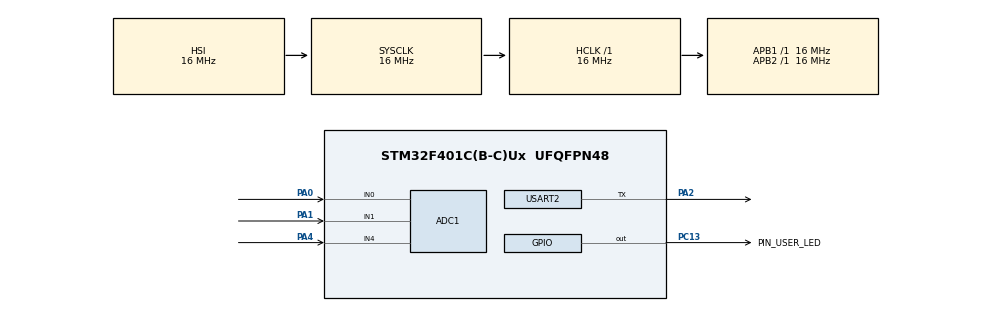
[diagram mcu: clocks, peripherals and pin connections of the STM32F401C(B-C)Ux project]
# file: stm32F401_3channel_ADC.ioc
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ADC1.Channel-0\#ChannelRegularConversion=ADC_CHANNEL_0
ADC1.Channel-1\#ChannelRegularConversion=ADC_CHANNEL_0
ADC1.Channel-2\#ChannelRegularConversion=ADC_CHANNEL_0
ADC1.Channel-3\#ChannelRegularConversion=ADC_CHANNEL_0
ADC1.Channel-4\#ChannelRegularConversion=ADC_CHANNEL_0
ADC1.ClockPrescaler=ADC_CLOCK_SYNC_PCLK_DIV4
ADC1.ContinuousConvMode=ENABLE
ADC1.NbrOfConversion=5
ADC1.NbrOfConversionFlag=1
ADC1.Rank-0\#ChannelRegularConversion=1
ADC1.Rank-1\#ChannelRegularConversion=2
ADC1.Rank-2\#ChannelRegularConversion=3
ADC1.Rank-3\#ChannelRegularConversion=4
ADC1.Rank-4\#ChannelRegularConversion=5
ADC1.SamplingTime-0\#ChannelRegularConversion=ADC_SAMPLETIME_15CYCLES
ADC1.SamplingTime-1\#ChannelRegularConversion=ADC_SAMPLETIME_15CYCLES
ADC1.SamplingTime-2\#ChannelRegularConversion=ADC_SAMPLETIME_15CYCLES
ADC1.SamplingTime-3\#ChannelRegularConversion=ADC_SAMPLETIME_3CYCLES
ADC1.SamplingTime-4\#ChannelRegularConversion=ADC_SAMPLETIME_3CYCLES
ADC1.master=1
Mcu.Family=STM32F4
Mcu.Name=STM32F401C(B-C)Ux
Mcu.Package=UFQFPN48
NVIC.PriorityGroup=NVIC_PRIORITYGROUP_4
PA0-WKUP.Signal=ADCx_IN0
PA1.Signal=ADCx_IN1
PA13.Mode=Serial_Wire
PA13.Signal=SYS_JTMS-SWDIO
PA14.Mode=Serial_Wire
PA14.Signal=SYS_JTCK-SWCLK
PA2.Mode=Half_duplex(single_wire_mode)
PA2.Signal=USART2_TX
PA4.Signal=ADCx_IN4
PC13-ANTI_TAMP.GPIO_Label=PIN_USER_LED
PC13-ANTI_TAMP.Signal=GPIO_Output
ProjectManager.HeapSize=0x200
ProjectManager.StackSize=0x400
ProjectManager.TargetToolchain=STM32CubeIDE
RCC.AHBFreq_Value=16000000
RCC.APB1Freq_Value=16000000
RCC.APB2Freq_Value=16000000
RCC.CortexFreq_Value=16000000
RCC.HSE_VALUE=25000000
RCC.HSI_VALUE=16000000
RCC.LSE_VALUE=32768
RCC.SYSCLKFreq_VALUE=16000000
RCC.VCOOutputFreq_Value=192000000
SH.ADCx_IN0.0=ADC1_IN0,IN0
SH.ADCx_IN1.0=ADC1_IN1,IN1
SH.ADCx_IN4.0=ADC1_IN4,IN4
USART2.Mode=MODE_TX
USART2.Parity=PARITY_EVEN
USART2.VirtualMode=VM_ASYNC
board=custom

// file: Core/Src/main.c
/* USER CODE BEGIN Header */

// Print:
// open COM port in putty or stm32ide ( Open Control )
// 115200, data bit 7 , stop bit 1, parity Even, Flow Control None.

// ADC connection
// only PA0, PA1, PA4 is defined as adc input channel.
// PA0 to GND (expect adc read 0),
// PA1 to mid point of 10K and 10K from 3.3V and GND( so expect 2048 (half of 4096) adc val for 1.65V)
// PA4 to 3.3V(4096).
/**
 ******************************************************************************
 * @file           : main.c
 * @brief          : Main program body
 ******************************************************************************
 * @attention
 *
 * Copyright (c) 2022 STMicroelectronics.
 * All rights reserved.
 *
 * This software is licensed under terms that can be found in the LICENSE file
 * in the root directory of this software component.
 * If no LICENSE file comes with this software, it is provided AS-IS.
 *
 ******************************************************************************
 */
/* USER CODE END Header */
#include "main.h"

ADC_HandleTypeDef hadc1;

UART_HandleTypeDef huart2;

void SystemClock_Config(void);
static void MX_GPIO_Init(void);
static void MX_ADC1_Init(void);
static void MX_USART2_UART_Init(void);

/* USER CODE BEGIN 0 */

// only PA0, PA1, PA4 is defined as adc input channel.
// connect PA0 to GND, PA1 to mid point of 10K and 10K from 3.3V and GND, PA4 to 3.3V.
void select_ADC_Channel(uint32_t channel) {
	ADC_ChannelConfTypeDef sConfig = { 0 };
	/** Configure for the selected ADC regular channel its corresponding rank in the sequencer and its sample time.
	 */

	switch (channel) {
	case 0:
		channel = ADC_CHANNEL_0;
		break;
	case 1:
		channel = ADC_CHANNEL_1;
		break;
	case 2:
		channel = ADC_CHANNEL_4;
		break;
	default:
		return;
	}

	sConfig.Channel = channel;
	sConfig.Rank = 1;
	sConfig.SamplingTime = ADC_SAMPLETIME_84CYCLES;
	if (HAL_ADC_ConfigChannel(&hadc1, &sConfig) != HAL_OK) {
		Error_Handler();
	}

}

uint16_t read_adc(uint32_t channel)
{

	select_ADC_Channel(channel);
	HAL_ADC_Start(&hadc1);
	HAL_ADC_PollForConversion(&hadc1, HAL_MAX_DELAY);
	uint16_t read_adc = HAL_ADC_GetValue(&hadc1);
	HAL_ADC_Stop(&hadc1);
	return read_adc;

}

/* Private function prototypes -----------------------------------------------*/
#ifdef __GNUC__
/* With GCC, small printf (option LD Linker->Libraries->Small printf
 set to 'Yes') calls __io_putchar() */
#define PUTCHAR_PROTOTYPE int __io_putchar(int ch)
#else
#define PUTCHAR_PROTOTYPE int fputc(int ch, FILE *f)
#endif /* __GNUC__ */

//must have this to print in uart com port
PUTCHAR_PROTOTYPE {
	// Place your implementation of fputc here
	// e.g. write a character to the EVAL_COM1 and Loop until the end of transmission
	HAL_UART_Transmit(&huart2, (uint8_t*) &ch, 1, 0xFFFF);

	return ch;
}

/* USER CODE END 0 */

int main(void)
{
  /* USER CODE BEGIN 1 */

	uint16_t *flashSizeF401Addr = (uint16_t*) 0x1FFF7A22;
	uint16_t flashSize = *flashSizeF401Addr;

  /* USER CODE END 1 */

  /* MCU Configuration--------------------------------------------------------*/

  /* Reset of all peripherals, Initializes the Flash interface and the Systick. */
  HAL_Init();

  /* Configure the system clock */
  SystemClock_Config();

  /* Initialize all configured peripherals */
  MX_GPIO_Init();
  MX_ADC1_Init();
  MX_USART2_UART_Init();

  /* Infinite loop */
  /* USER CODE BEGIN WHILE */
	int channel = 0;
	int MAX_CHANNEL = 3;

	while (1) {

		channel = channel % MAX_CHANNEL;

		HAL_GPIO_WritePin(GPIOC, PIN_USER_LED_Pin, GPIO_PIN_RESET);

		uint16_t adc_val = read_adc(channel);
		printf("adc PA %i  read  %hu\r\n", channel, adc_val);

		printf("Hello World from Stm32CubeIDE!\r\n");
		printf("Device Id not sure how to get,  flash size is %uKB\r\n",
				flashSize);

		// can also use USB as virtual com port to print: CDC_Transmit_FS((uint8_t *) "Hello World CDC !\n", 13); //We add this line for serial comm
		HAL_Delay(500);
		HAL_GPIO_WritePin(GPIOC, PIN_USER_LED_Pin, GPIO_PIN_SET);
		channel++;
		HAL_Delay(500);

    /* USER CODE END WHILE */

	}
}

void SystemClock_Config(void)
{
  RCC_OscInitTypeDef RCC_OscInitStruct = {0};
  RCC_ClkInitTypeDef RCC_ClkInitStruct = {0};

  /** Configure the main internal regulator output voltage
  */
  __HAL_RCC_PWR_CLK_ENABLE();
  __HAL_PWR_VOLTAGESCALING_CONFIG(PWR_REGULATOR_VOLTAGE_SCALE2);

  /** Initializes the RCC Oscillators according to the specified parameters
  * in the RCC_OscInitTypeDef structure.
  */
  RCC_OscInitStruct.OscillatorType = RCC_OSCILLATORTYPE_HSI;
  RCC_OscInitStruct.HSIState = RCC_HSI_ON;
  RCC_OscInitStruct.HSICalibrationValue = RCC_HSICALIBRATION_DEFAULT;
  RCC_OscInitStruct.PLL.PLLState = RCC_PLL_NONE;
  if (HAL_RCC_OscConfig(&RCC_OscInitStruct) != HAL_OK)
  {
    Error_Handler();
  }

  /** Initializes the CPU, AHB and APB buses clocks
  */
  RCC_ClkInitStruct.ClockType = RCC_CLOCKTYPE_HCLK|RCC_CLOCKTYPE_SYSCLK
                              |RCC_CLOCKTYPE_PCLK1|RCC_CLOCKTYPE_PCLK2;
  RCC_ClkInitStruct.SYSCLKSource = RCC_SYSCLKSOURCE_HSI;
  RCC_ClkInitStruct.AHBCLKDivider = RCC_SYSCLK_DIV1;
  RCC_ClkInitStruct.APB1CLKDivider = RCC_HCLK_DIV1;
  RCC_ClkInitStruct.APB2CLKDivider = RCC_HCLK_DIV1;

  if (HAL_RCC_ClockConfig(&RCC_ClkInitStruct, FLASH_LATENCY_0) != HAL_OK)
  {
    Error_Handler();
  }
}

static void MX_ADC1_Init(void)
{

  ADC_ChannelConfTypeDef sConfig = {0};

  /** Configure the global features of the ADC (Clock, Resolution, Data Alignment and number of conversion)
  */
  hadc1.Instance = ADC1;
  hadc1.Init.ClockPrescaler = ADC_CLOCK_SYNC_PCLK_DIV4;
  hadc1.Init.Resolution = ADC_RESOLUTION_12B;
  hadc1.Init.ScanConvMode = ENABLE;
  hadc1.Init.ContinuousConvMode = ENABLE;
  hadc1.Init.DiscontinuousConvMode = DISABLE;
  hadc1.Init.ExternalTrigConvEdge = ADC_EXTERNALTRIGCONVEDGE_NONE;
  hadc1.Init.ExternalTrigConv = ADC_SOFTWARE_START;
  hadc1.Init.DataAlign = ADC_DATAALIGN_RIGHT;
  hadc1.Init.NbrOfConversion = 5;
  hadc1.Init.DMAContinuousRequests = DISABLE;
  hadc1.Init.EOCSelection = ADC_EOC_SINGLE_CONV;
  if (HAL_ADC_Init(&hadc1) != HAL_OK)
  {
    Error_Handler();
  }

  /** Configure for the selected ADC regular channel its corresponding rank in the sequencer and its sample time.
  */
  sConfig.Channel = ADC_CHANNEL_0;
  sConfig.Rank = 1;
  sConfig.SamplingTime = ADC_SAMPLETIME_15CYCLES;
  if (HAL_ADC_ConfigChannel(&hadc1, &sConfig) != HAL_OK)
  {
    Error_Handler();
  }

  /** Configure for the selected ADC regular channel its corresponding rank in the sequencer and its sample time.
  */
  sConfig.Rank = 2;
  if (HAL_ADC_ConfigChannel(&hadc1, &sConfig) != HAL_OK)
  {
    Error_Handler();
  }

  /** Configure for the selected ADC regular channel its corresponding rank in the sequencer and its sample time.
  */
  sConfig.Rank = 3;
  if (HAL_ADC_ConfigChannel(&hadc1, &sConfig) != HAL_OK)
  {
    Error_Handler();
  }

  /** Configure for the selected ADC regular channel its corresponding rank in the sequencer and its sample time.
  */
  sConfig.Rank = 4;
  sConfig.SamplingTime = ADC_SAMPLETIME_3CYCLES;
  if (HAL_ADC_ConfigChannel(&hadc1, &sConfig) != HAL_OK)
  {
    Error_Handler();
  }

  /** Configure for the selected ADC regular channel its corresponding rank in the sequencer and its sample time.
  */
  sConfig.Rank = 5;
  if (HAL_ADC_ConfigChannel(&hadc1, &sConfig) != HAL_OK)
  {
    Error_Handler();
  }

}

static void MX_USART2_UART_Init(void)
{

  huart2.Instance = USART2;
  huart2.Init.BaudRate = 115200;
  huart2.Init.WordLength = UART_WORDLENGTH_8B;
  huart2.Init.StopBits = UART_STOPBITS_1;
  huart2.Init.Parity = UART_PARITY_EVEN;
  huart2.Init.Mode = UART_MODE_TX;
  huart2.Init.HwFlowCtl = UART_HWCONTROL_NONE;
  huart2.Init.OverSampling = UART_OVERSAMPLING_16;
  if (HAL_HalfDuplex_Init(&huart2) != HAL_OK)
  {
    Error_Handler();
  }

}

static void MX_GPIO_Init(void)
{
  GPIO_InitTypeDef GPIO_InitStruct = {0};

  /* GPIO Ports Clock Enable */
  __HAL_RCC_GPIOC_CLK_ENABLE();
  __HAL_RCC_GPIOA_CLK_ENABLE();

  /*Configure GPIO pin Output Level */
  HAL_GPIO_WritePin(PIN_USER_LED_GPIO_Port, PIN_USER_LED_Pin, GPIO_PIN_RESET);

  /*Configure GPIO pin : PIN_USER_LED_Pin */
  GPIO_InitStruct.Pin = PIN_USER_LED_Pin;
  GPIO_InitStruct.Mode = GPIO_MODE_OUTPUT_PP;
  GPIO_InitStruct.Pull = GPIO_NOPULL;
  GPIO_InitStruct.Speed = GPIO_SPEED_FREQ_LOW;
  HAL_GPIO_Init(PIN_USER_LED_GPIO_Port, &GPIO_InitStruct);

}

void Error_Handler(void)
{
	__disable_irq();
	while (1) {
	}
}
